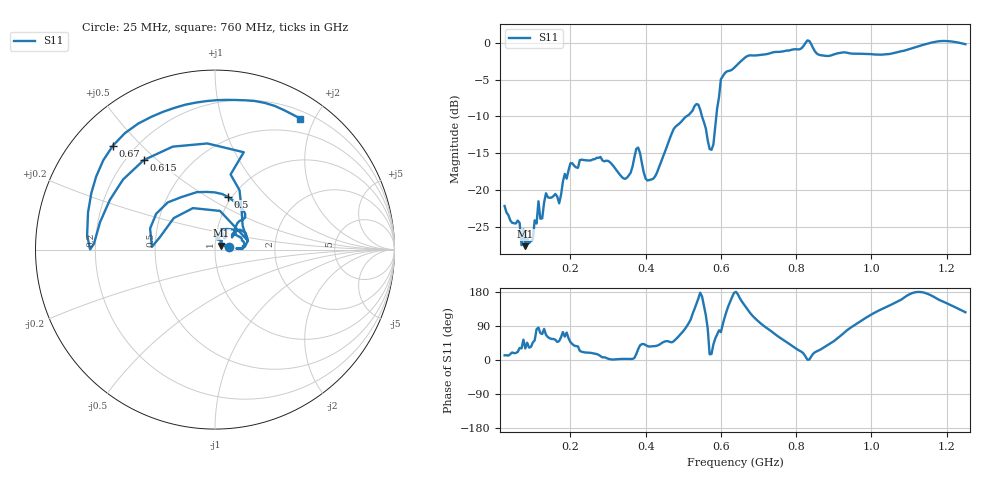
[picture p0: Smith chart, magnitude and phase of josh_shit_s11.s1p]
!Created with skrf (http://scikit-rf.org).
# Hz S RI R 50.0
!freq ReS11 ImS11
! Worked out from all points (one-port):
!   246 points, 25 MHz to 1.25 GHz, reference 50 ohm
!   lowest |S11| = -27.6 dB at 80 MHz (marker M1), VSWR 1.09, Z = 53.7 + j2.27 ohm
!   |S11| at or under -10 dB: start of sweep to 508.1 MHz; 549.7 MHz to 587.8 MHz (38.04 MHz wide, 6.69 % of centre)
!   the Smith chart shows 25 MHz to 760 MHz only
!   S11 on the Smith chart (normalised r, x): 25 MHz: 1.16, +0.04; 500 MHz: 0.96, +0.62; 615 MHz: 0.27, +0.45; 670 MHz: 0.12, +0.41; 760 MHz: 0.30, +1.81
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2.5e7  0.0761 0.0167
8e7  0.0359 0.0211
1.15e8  0.00659 0.0837
1.8e8  0.0321 0.1096
2.8e8  0.1653 0.0294
3.35e8  0.124 0.006
3.8e8  0.1709 0.0925
4.2e8  0.0962 0.0708
4.85e8  0.1402 0.2386
5e8  0.0719 0.2937
5.4e8  -0.3616 0.1174
5.6e8  -0.123 0.2312
5.75e8  0.1806 0.0511
6e8  0.1603 0.5424
6.15e8  -0.3974 0.4985
6.4e8  -0.6958 0.00146
6.7e8  -0.5685 0.5797
7.05e8  -0.1037 0.8195
7.6e8  0.4758 0.7295
7.95e8  0.7568 0.4937
8.35e8  1.03 0.02
8.5e8  0.8197 0.306
9.45e8  0.0679 0.8435
1.01e9  -0.4844 0.6773
1.1e9  -0.8975 0.114
1.14e9  -0.972 0.0375
1.195e9  -0.9106 0.4797
1.25e9  -0.5753 0.7913
